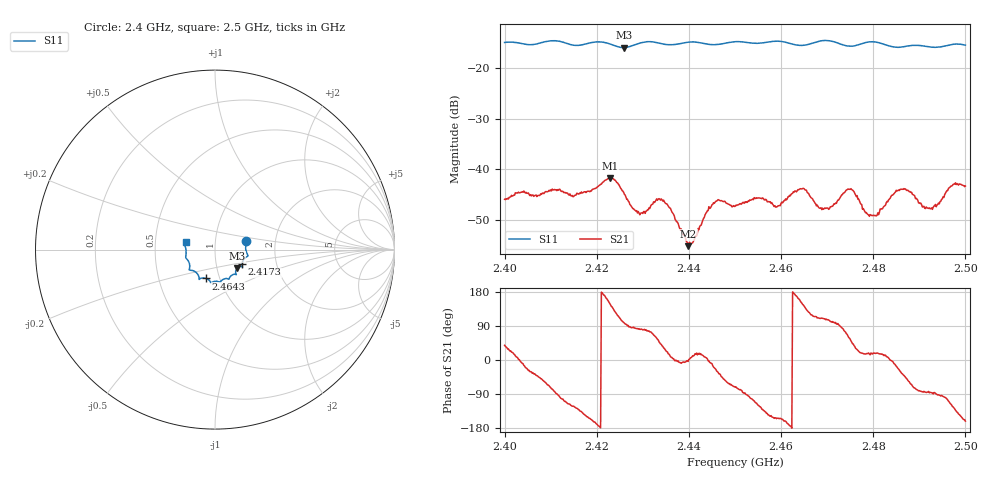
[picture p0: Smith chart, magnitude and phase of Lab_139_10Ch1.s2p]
# Hz S RI R 50
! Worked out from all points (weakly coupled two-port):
!   601 points, 2.4 GHz to 2.5 GHz, reference 50 ohm
!   highest |S21| = -41.73 dB at 2.4228 GHz (marker M1); lowest = -55.2 dB at 2.4398 GHz (marker M2)
!   lowest |S11| = -15.9 dB at 2.4258 GHz (marker M3), VSWR 1.38, Z = 62.4 - j13.2 ohm
!   |S11| at or under -10 dB: start of sweep to end of sweep
!   S12 and S22 are empty: the file has one direction only
!   S11 on the Smith chart (normalised r, x): 2.4 GHz: 1.41, +0.14; 2.4173 GHz: 1.34, -0.23; 2.4643 GHz: 0.86, -0.28; 2.5 GHz: 0.72, +0.06
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2.4e9  0.1732 0.0489  0.00394 0.00317  0 0  0 0
2.416667e9  0.1528 -0.0745  -0.00431 -0.00414  0 0  0 0
2.417333e9  0.1519 -0.0819  -0.00486 -0.00353  0 0  0 0
2.422833e9  0.1467 -0.094  -0.00702 0.00424  0 0  0 0
2.425833e9  0.1222 -0.1034  -0.000934 0.00584  0 0  0 0
2.429333e9  0.1162 -0.1338  0.000563 0.00351  0 0  0 0
2.433333e9  0.1126 -0.1377  0.00306 0.00404  0 0  0 0
2.435667e9  0.0965 -0.1411  0.00407 0.00114  0 0  0 0
2.439833e9  0.0793 -0.1627  0.00173 -0.000115  0 0  0 0
2.445833e9  0.0489 -0.1643  0.00439 -0.00201  0 0  0 0
2.45e9  0.0287 -0.1809  0.00136 -0.00408  0 0  0 0
2.459333e9  -0.0231 -0.1836  -0.0039 -0.00194  0 0  0 0
2.464333e9  -0.05 -0.1605  -0.00568 0.00297  0 0  0 0
2.466667e9  -0.076 -0.159  -0.00251 0.00454  0 0  0 0
2.470167e9  -0.088 -0.1657  -0.00117 0.00397  0 0  0 0
2.475e9  -0.1062 -0.1266  0.00362 0.00518  0 0  0 0
2.480167e9  -0.1436 -0.1125  0.00331 0.00106  0 0  0 0
2.483333e9  -0.1407 -0.0897  0.00496 0.00046  0 0  0 0
2.486667e9  -0.153 -0.0576  0.00488 -0.00421  0 0  0 0
2.4925e9  -0.1607 -0.02  0.000296 -0.00406  0 0  0 0
2.497333e9  -0.1701 0.0288  -0.00394 -0.00589  0 0  0 0
2.5e9  -0.1639 0.0428  -0.00647 -0.00219  0 0  0 0
